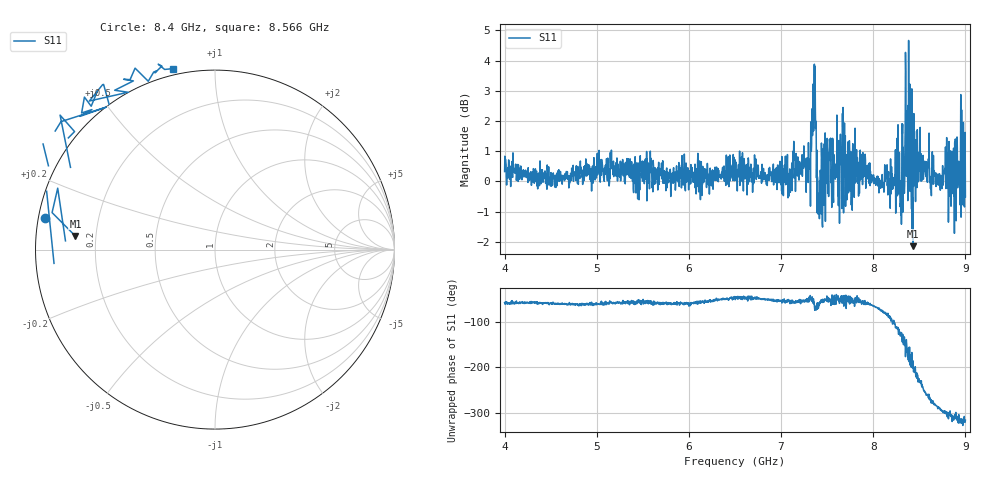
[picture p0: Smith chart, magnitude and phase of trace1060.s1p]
! Created with skrf 1.8.0 (http://scikit-rf.org).
# Hz S RI R 50.0
!freq ReS11 ImS11
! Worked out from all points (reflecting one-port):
!   1601 points, 4 GHz to 9 GHz, reference 50 ohm
!   lowest |S11| = -2.1 dB at 8.431 GHz (marker M1), VSWR 8.15, Z = 6.15 + j2.38 ohm
!   phase of S11 starts at -57 deg and turns -260 deg over the sweep
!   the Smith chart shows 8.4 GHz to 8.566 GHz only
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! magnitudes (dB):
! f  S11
! 4 GHz  0.3
! 4.625 GHz  -0.1
! 5.25 GHz  0.1
! 5.875 GHz  0.0
! 6.5 GHz  0.7
! 7.097 GHz  0.2
! 7.125 GHz  0.6
! 7.294 GHz  0.0
! 7.356 GHz  2.9
! 7.372 GHz  2.4
! 7.409 GHz  -0.5
! 7.512 GHz  0.9
! 7.609 GHz  0.2
! 7.662 GHz  0.4
! 7.75 GHz  0.0
! 7.891 GHz  0.3
! 8.094 GHz  -0.2
! 8.259 GHz  1.4
! 8.316 GHz  1.6
! 8.334 GHz  -0.2
! 8.375 GHz  -0.6
! 8.412 GHz  -0.1
! 8.431 GHz  -2.1
! 8.447 GHz  1.7
! 8.459 GHz  -0.7
! 8.722 GHz  -0.2
! 8.956 GHz  0.2
! 9 GHz  -0.5
